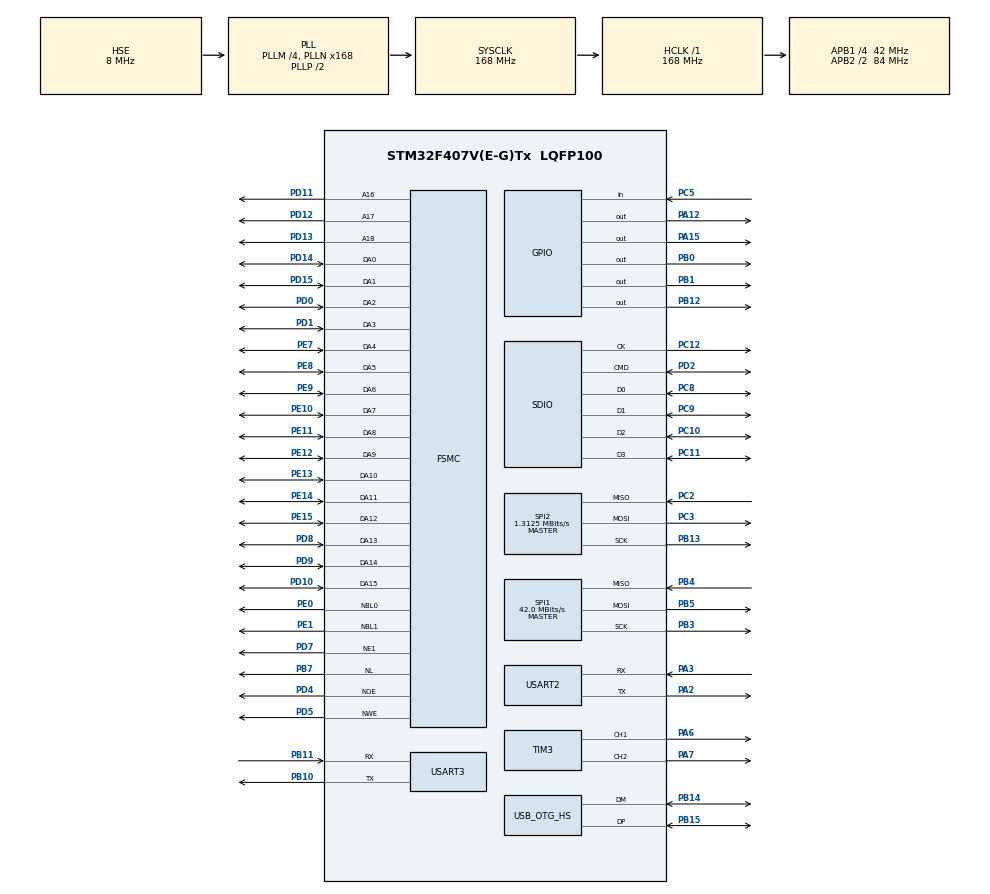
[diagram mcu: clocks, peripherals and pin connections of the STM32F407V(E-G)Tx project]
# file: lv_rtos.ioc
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Dma.Request0=SDIO_TX
Dma.Request1=SDIO_RX
Dma.Request2=SPI1_RX
Dma.Request3=SPI1_TX
Dma.SDIO_RX.1.Direction=DMA_PERIPH_TO_MEMORY
Dma.SDIO_RX.1.FIFOMode=DMA_FIFOMODE_ENABLE
Dma.SDIO_RX.1.FIFOThreshold=DMA_FIFO_THRESHOLD_FULL
Dma.SDIO_RX.1.Instance=DMA2_Stream6
Dma.SDIO_RX.1.MemBurst=DMA_MBURST_INC4
Dma.SDIO_RX.1.MemDataAlignment=DMA_MDATAALIGN_WORD
Dma.SDIO_RX.1.MemInc=DMA_MINC_ENABLE
Dma.SDIO_RX.1.Mode=DMA_PFCTRL
Dma.SDIO_RX.1.PeriphBurst=DMA_PBURST_INC4
Dma.SDIO_RX.1.PeriphDataAlignment=DMA_PDATAALIGN_WORD
Dma.SDIO_RX.1.PeriphInc=DMA_PINC_DISABLE
Dma.SDIO_RX.1.Priority=DMA_PRIORITY_MEDIUM
Dma.SDIO_TX.0.Direction=DMA_MEMORY_TO_PERIPH
Dma.SDIO_TX.0.FIFOMode=DMA_FIFOMODE_ENABLE
Dma.SDIO_TX.0.FIFOThreshold=DMA_FIFO_THRESHOLD_FULL
Dma.SDIO_TX.0.Instance=DMA2_Stream3
Dma.SDIO_TX.0.MemBurst=DMA_MBURST_INC4
Dma.SDIO_TX.0.MemDataAlignment=DMA_MDATAALIGN_WORD
Dma.SDIO_TX.0.MemInc=DMA_MINC_ENABLE
Dma.SDIO_TX.0.Mode=DMA_PFCTRL
Dma.SDIO_TX.0.PeriphBurst=DMA_PBURST_INC4
Dma.SDIO_TX.0.PeriphDataAlignment=DMA_PDATAALIGN_WORD
Dma.SDIO_TX.0.PeriphInc=DMA_PINC_DISABLE
Dma.SDIO_TX.0.Priority=DMA_PRIORITY_MEDIUM
Dma.SPI1_RX.2.Direction=DMA_PERIPH_TO_MEMORY
Dma.SPI1_RX.2.FIFOMode=DMA_FIFOMODE_DISABLE
Dma.SPI1_RX.2.Instance=DMA2_Stream0
Dma.SPI1_RX.2.MemDataAlignment=DMA_MDATAALIGN_BYTE
Dma.SPI1_RX.2.MemInc=DMA_MINC_ENABLE
Dma.SPI1_RX.2.Mode=DMA_NORMAL
Dma.SPI1_RX.2.PeriphDataAlignment=DMA_PDATAALIGN_BYTE
Dma.SPI1_RX.2.PeriphInc=DMA_PINC_DISABLE
Dma.SPI1_RX.2.Priority=DMA_PRIORITY_LOW
Dma.SPI1_TX.3.Direction=DMA_MEMORY_TO_PERIPH
Dma.SPI1_TX.3.FIFOMode=DMA_FIFOMODE_ENABLE
Dma.SPI1_TX.3.FIFOThreshold=DMA_FIFO_THRESHOLD_FULL
Dma.SPI1_TX.3.Instance=DMA2_Stream5
Dma.SPI1_TX.3.MemBurst=DMA_MBURST_SINGLE
Dma.SPI1_TX.3.MemDataAlignment=DMA_MDATAALIGN_BYTE
Dma.SPI1_TX.3.MemInc=DMA_MINC_ENABLE
Dma.SPI1_TX.3.Mode=DMA_NORMAL
Dma.SPI1_TX.3.PeriphBurst=DMA_PBURST_SINGLE
Dma.SPI1_TX.3.PeriphDataAlignment=DMA_PDATAALIGN_BYTE
Dma.SPI1_TX.3.PeriphInc=DMA_PINC_DISABLE
Dma.SPI1_TX.3.Priority=DMA_PRIORITY_LOW
FATFS._CODE_PAGE=936
FATFS._FS_TIMEOUT=1000
FATFS._LFN_UNICODE=0
FATFS._USE_LFN=2
FREERTOS.Tasks01=defaultTask,24,1024,StartDefaultTask,Default,NULL,Dynamic,NULL,NULL
FREERTOS.configCHECK_FOR_STACK_OVERFLOW=1
FREERTOS.configMINIMAL_STACK_SIZE=128
FREERTOS.configTOTAL_HEAP_SIZE=64*1024
FREERTOS.configUSE_MALLOC_FAILED_HOOK=1
FREERTOS.configUSE_TICK_HOOK=1
FSMC.AddressHoldTime1=2
FSMC.AddressSetupTime1=5
FSMC.BusTurnAroundDuration1=0
FSMC.DataSetupTime1=7
FSMC.WriteOperation1=FSMC_WRITE_OPERATION_ENABLE
Mcu.Family=STM32F4
Mcu.Name=STM32F407V(E-G)Tx
Mcu.Package=LQFP100
NVIC.DMA2_Stream0_IRQn=true\:5\:0\:false\:false\:true\:true\:false\:true\:true
NVIC.DMA2_Stream3_IRQn=true\:6\:0\:true\:false\:true\:true\:false\:true\:true
NVIC.DMA2_Stream5_IRQn=true\:5\:0\:false\:false\:true\:true\:false\:true\:true
NVIC.DMA2_Stream6_IRQn=true\:6\:0\:true\:false\:true\:true\:false\:true\:true
NVIC.PriorityGroup=NVIC_PRIORITYGROUP_4
NVIC.SDIO_IRQn=true\:5\:0\:true\:false\:true\:true\:true\:true\:true
NVIC.SPI1_IRQn=true\:5\:0\:false\:false\:true\:true\:true\:true\:true
NVIC.TIM7_IRQn=true\:1\:0\:true\:false\:true\:false\:false\:true\:true
NVIC.TimeBase=TIM7_IRQn
NVIC.TimeBaseIP=TIM7
NVIC.USART2_IRQn=true\:5\:0\:false\:false\:true\:true\:true\:true\:true
NVIC.USART3_IRQn=true\:5\:0\:false\:false\:true\:true\:true\:true\:true
PA12.GPIO_Speed=GPIO_SPEED_FREQ_VERY_HIGH
PA12.PinState=GPIO_PIN_SET
PA12.Signal=GPIO_Output
PA13.Mode=Serial_Wire
PA13.Signal=SYS_JTMS-SWDIO
PA14.Mode=Serial_Wire
PA14.Signal=SYS_JTCK-SWCLK
PA15.GPIO_Speed=GPIO_SPEED_FREQ_VERY_HIGH
PA15.PinState=GPIO_PIN_SET
PA15.Signal=GPIO_Output
PA2.Mode=Asynchronous
PA2.Signal=USART2_TX
PA3.Mode=Asynchronous
PA3.Signal=USART2_RX
PA6.Signal=S_TIM3_CH1
PA7.Signal=S_TIM3_CH2
PB0.GPIO_Speed=GPIO_SPEED_FREQ_VERY_HIGH
PB0.Signal=GPIO_Output
PB1.GPIO_Speed=GPIO_SPEED_FREQ_VERY_HIGH
PB1.Signal=GPIO_Output
PB10.Mode=Asynchronous
PB10.Signal=USART3_TX
PB11.Mode=Asynchronous
PB11.Signal=USART3_RX
PB12.GPIO_Speed=GPIO_SPEED_FREQ_VERY_HIGH
PB12.PinState=GPIO_PIN_SET
PB12.Signal=GPIO_Output
PB13.Mode=Full_Duplex_Master
PB13.Signal=SPI2_SCK
PB14.Mode=Device_Only_FS
PB14.Signal=USB_OTG_HS_DM
PB15.Mode=Device_Only_FS
PB15.Signal=USB_OTG_HS_DP
PB3.Mode=Full_Duplex_Master
PB3.Signal=SPI1_SCK
PB4.Mode=Full_Duplex_Master
PB4.Signal=SPI1_MISO
PB5.Mode=Full_Duplex_Master
PB5.Signal=SPI1_MOSI
PB7.GPIO_Speed_High_Default=GPIO_SPEED_FREQ_VERY_HIGH
PB7.Signal=FSMC_NL
PC10.Mode=SD_4_bits_Wide_bus
PC10.Signal=SDIO_D2
PC11.Mode=SD_4_bits_Wide_bus
PC11.Signal=SDIO_D3
PC12.Mode=SD_4_bits_Wide_bus
PC12.Signal=SDIO_CK
PC2.Mode=Full_Duplex_Master
PC2.Signal=SPI2_MISO
PC3.Mode=Full_Duplex_Master
PC3.Signal=SPI2_MOSI
PC5.Signal=GPIO_Input
PC8.Mode=SD_4_bits_Wide_bus
PC8.Signal=SDIO_D0
PC9.Mode=SD_4_bits_Wide_bus
PC9.Signal=SDIO_D1
PD0.GPIO_Speed_High_Default=GPIO_SPEED_FREQ_VERY_HIGH
PD0.Mode=19b-da1
PD0.Signal=FSMC_DA2
PD1.GPIO_Speed_High_Default=GPIO_SPEED_FREQ_VERY_HIGH
PD1.Mode=19b-da1
PD1.Signal=FSMC_DA3
PD10.GPIO_Speed_High_Default=GPIO_SPEED_FREQ_VERY_HIGH
PD10.Mode=19b-da1
PD10.Signal=FSMC_DA15
PD11.GPIO_Speed_High_Default=GPIO_SPEED_FREQ_VERY_HIGH
PD11.Mode=19b-da1
PD11.Signal=FSMC_A16
PD12.GPIO_Speed_High_Default=GPIO_SPEED_FREQ_VERY_HIGH
PD12.Mode=19b-da1
PD12.Signal=FSMC_A17
PD13.GPIO_Speed_High_Default=GPIO_SPEED_FREQ_VERY_HIGH
PD13.Mode=19b-da1
PD13.Signal=FSMC_A18
PD14.GPIO_Speed_High_Default=GPIO_SPEED_FREQ_VERY_HIGH
PD14.Mode=19b-da1
PD14.Signal=FSMC_DA0
PD15.GPIO_Speed_High_Default=GPIO_SPEED_FREQ_VERY_HIGH
PD15.Mode=19b-da1
PD15.Signal=FSMC_DA1
PD2.Mode=SD_4_bits_Wide_bus
PD2.Signal=SDIO_CMD
PD4.GPIO_PuPd=GPIO_NOPULL
PD4.GPIO_Speed_High_Default=GPIO_SPEED_FREQ_VERY_HIGH
PD4.Mode=MuxedPsram1
PD4.Signal=FSMC_NOE
PD5.GPIO_Speed_High_Default=GPIO_SPEED_FREQ_VERY_HIGH
PD5.Mode=MuxedPsram1
PD5.Signal=FSMC_NWE
PD7.GPIO_Speed_High_Default=GPIO_SPEED_FREQ_VERY_HIGH
PD7.Mode=NorPsramChipSelect1_1
PD7.Signal=FSMC_NE1
PD8.GPIO_Speed_High_Default=GPIO_SPEED_FREQ_VERY_HIGH
PD8.Mode=19b-da1
PD8.Signal=FSMC_DA13
PD9.GPIO_Speed_High_Default=GPIO_SPEED_FREQ_VERY_HIGH
PD9.Mode=19b-da1
PD9.Signal=FSMC_DA14
PE0.GPIO_Speed_High_Default=GPIO_SPEED_FREQ_VERY_HIGH
PE0.Mode=2ByteEnable1
PE0.Signal=FSMC_NBL0
PE1.GPIO_Speed_High_Default=GPIO_SPEED_FREQ_VERY_HIGH
PE1.Mode=2ByteEnable1
PE1.Signal=FSMC_NBL1
PE10.GPIO_Speed_High_Default=GPIO_SPEED_FREQ_VERY_HIGH
PE10.Mode=19b-da1
PE10.Signal=FSMC_DA7
PE11.GPIO_Speed_High_Default=GPIO_SPEED_FREQ_VERY_HIGH
PE11.Mode=19b-da1
PE11.Signal=FSMC_DA8
PE12.GPIO_Speed_High_Default=GPIO_SPEED_FREQ_VERY_HIGH
PE12.Mode=19b-da1
PE12.Signal=FSMC_DA9
PE13.GPIO_Speed_High_Default=GPIO_SPEED_FREQ_VERY_HIGH
PE13.Mode=19b-da1
PE13.Signal=FSMC_DA10
PE14.GPIO_Speed_High_Default=GPIO_SPEED_FREQ_VERY_HIGH
PE14.Mode=19b-da1
PE14.Signal=FSMC_DA11
PE15.GPIO_Speed_High_Default=GPIO_SPEED_FREQ_VERY_HIGH
PE15.Mode=19b-da1
PE15.Signal=FSMC_DA12
PE7.GPIO_Speed_High_Default=GPIO_SPEED_FREQ_VERY_HIGH
PE7.Mode=19b-da1
PE7.Signal=FSMC_DA4
PE8.GPIO_Speed_High_Default=GPIO_SPEED_FREQ_VERY_HIGH
PE8.Mode=19b-da1
PE8.Signal=FSMC_DA5
PE9.GPIO_Speed_High_Default=GPIO_SPEED_FREQ_VERY_HIGH
PE9.Mode=19b-da1
PE9.Signal=FSMC_DA6
PH0-OSC_IN.Mode=HSE-External-Oscillator
PH0-OSC_IN.Signal=RCC_OSC_IN
PH1-OSC_OUT.Mode=HSE-External-Oscillator
PH1-OSC_OUT.Signal=RCC_OSC_OUT
ProjectManager.HeapSize=0x200
ProjectManager.StackSize=0x400
ProjectManager.TargetToolchain=CMake
RCC.48MHZClocksFreq_Value=48000000
RCC.AHBFreq_Value=168000000
RCC.APB1CLKDivider=RCC_HCLK_DIV4
RCC.APB1Freq_Value=42000000
RCC.APB1TimFreq_Value=84000000
RCC.APB2CLKDivider=RCC_HCLK_DIV2
RCC.APB2Freq_Value=84000000
RCC.APB2TimFreq_Value=168000000
RCC.CortexFreq_Value=168000000
RCC.HCLKFreq_Value=168000000
RCC.HSE_VALUE=8000000
RCC.HSI_VALUE=16000000
RCC.LSE_VALUE=32768
RCC.PLLM=4
RCC.PLLN=168
RCC.PLLQ=7
RCC.SYSCLKFreq_VALUE=168000000
RCC.SYSCLKSource=RCC_SYSCLKSOURCE_PLLCLK
RCC.VCOOutputFreq_Value=336000000
SDIO.ClockBypass=SDIO_CLOCK_BYPASS_DISABLE
SDIO.ClockDiv=0
SDIO.HardwareFlowControl=SDIO_HARDWARE_FLOW_CONTROL_DISABLE
SH.FSMC_NL.0=FSMC_NL,AddressValid1
SH.S_TIM3_CH1.0=TIM3_CH1,PWM Generation1 CH1
SH.S_TIM3_CH2.0=TIM3_CH2,PWM Generation2 CH2
SPI1.BaudRatePrescaler=SPI_BAUDRATEPRESCALER_2
SPI1.CalculateBaudRate=42.0 MBits/s
SPI1.DataSize=SPI_DATASIZE_8BIT
SPI1.Direction=SPI_DIRECTION_2LINES
SPI1.Mode=SPI_MODE_MASTER
SPI1.VirtualType=VM_MASTER
SPI2.BaudRatePrescaler=SPI_BAUDRATEPRESCALER_32
SPI2.CalculateBaudRate=1.3125 MBits/s
SPI2.Direction=SPI_DIRECTION_2LINES
SPI2.Mode=SPI_MODE_MASTER
SPI2.VirtualType=VM_MASTER
TIM3.Channel-PWM\ Generation1\ CH1=TIM_CHANNEL_1
TIM3.Channel-PWM\ Generation2\ CH2=TIM_CHANNEL_2
USART2.VirtualMode=VM_ASYNC
USART3.VirtualMode=VM_ASYNC
USB_OTG_HS.VirtualMode-Device_Only_FS=Device_Only_FS
USB_OTG_HS.dma_enable-Device_Only_FS=ENABLE
VP_FATFS_VS_Generic.Mode=User_defined
VP_FATFS_VS_SDIO.Mode=SDIO
VP_FREERTOS_VS_CMSIS_V2.Mode=CMSIS_V2
VP_SYS_VS_tim7.Mode=TIM7
VP_TIM3_VS_ClockSourceINT.Mode=Internal
board=custom

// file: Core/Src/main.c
/* USER CODE BEGIN Header */
/**
 ******************************************************************************
 * @file           : main.c
 * @brief          : Main program body
 ******************************************************************************
 * @attention
 *
 * Copyright (c) 2026 STMicroelectronics.
 * All rights reserved.
 *
 * This software is licensed under terms that can be found in the LICENSE file
 * in the root directory of this software component.
 * If no LICENSE file comes with this software, it is provided AS-IS.
 *
 ******************************************************************************
 */
/* USER CODE END Header */
#include "main.h"
#include "cmsis_os.h"
#include "dma.h"
#include "fatfs.h"
#include "sdio.h"
#include "spi.h"
#include "tim.h"
#include "usart.h"
#include "gpio.h"
#include "fsmc.h"

void SystemClock_Config(void);
void MX_FREERTOS_Init(void);

int main(void)
{

  /* MCU Configuration--------------------------------------------------------*/

  /* Reset of all peripherals, Initializes the Flash interface and the Systick. */
  HAL_Init();

  /* Configure the system clock */
  SystemClock_Config();

  /* USER CODE BEGIN SysInit */
  // ????????????????????????SD????esp8266????????
  for (volatile uint32_t i = 0; i < 100000000; i++)
  {
    __NOP();
  }
  /* USER CODE END SysInit */

  /* Initialize all configured peripherals */
  MX_GPIO_Init();
  MX_DMA_Init();
  MX_SPI1_Init();
  MX_SPI2_Init();
  MX_USART2_UART_Init();
  MX_USART3_UART_Init();
  MX_FSMC_Init();
  MX_TIM3_Init();
  MX_SDIO_SD_Init();
  MX_FATFS_Init();

  /* Init scheduler */
  osKernelInitialize();

  /* Call init function for freertos objects (in cmsis_os2.c) */
  MX_FREERTOS_Init();

  /* Start scheduler */
  osKernelStart();

  /* We should never get here as control is now taken by the scheduler */

  /* Infinite loop */
  while (1)
  {

  }
}

void SystemClock_Config(void)
{
  RCC_OscInitTypeDef RCC_OscInitStruct = {0};
  RCC_ClkInitTypeDef RCC_ClkInitStruct = {0};

  /** Configure the main internal regulator output voltage
   */
  __HAL_RCC_PWR_CLK_ENABLE();
  __HAL_PWR_VOLTAGESCALING_CONFIG(PWR_REGULATOR_VOLTAGE_SCALE1);

  /** Initializes the RCC Oscillators according to the specified parameters
   * in the RCC_OscInitTypeDef structure.
   */
  RCC_OscInitStruct.OscillatorType = RCC_OSCILLATORTYPE_HSE;
  RCC_OscInitStruct.HSEState = RCC_HSE_ON;
  RCC_OscInitStruct.PLL.PLLState = RCC_PLL_ON;
  RCC_OscInitStruct.PLL.PLLSource = RCC_PLLSOURCE_HSE;
  RCC_OscInitStruct.PLL.PLLM = 4;
  RCC_OscInitStruct.PLL.PLLN = 168;
  RCC_OscInitStruct.PLL.PLLP = RCC_PLLP_DIV2;
  RCC_OscInitStruct.PLL.PLLQ = 7;
  if (HAL_RCC_OscConfig(&RCC_OscInitStruct) != HAL_OK)
  {
    Error_Handler();
  }

  /** Initializes the CPU, AHB and APB buses clocks
   */
  RCC_ClkInitStruct.ClockType = RCC_CLOCKTYPE_HCLK | RCC_CLOCKTYPE_SYSCLK | RCC_CLOCKTYPE_PCLK1 | RCC_CLOCKTYPE_PCLK2;
  RCC_ClkInitStruct.SYSCLKSource = RCC_SYSCLKSOURCE_PLLCLK;
  RCC_ClkInitStruct.AHBCLKDivider = RCC_SYSCLK_DIV1;
  RCC_ClkInitStruct.APB1CLKDivider = RCC_HCLK_DIV4;
  RCC_ClkInitStruct.APB2CLKDivider = RCC_HCLK_DIV2;

  if (HAL_RCC_ClockConfig(&RCC_ClkInitStruct, FLASH_LATENCY_5) != HAL_OK)
  {
    Error_Handler();
  }
}

void HAL_TIM_PeriodElapsedCallback(TIM_HandleTypeDef *htim)
{
  if (htim->Instance == TIM7)
  {
    HAL_IncTick();
  }
}

void Error_Handler(void)
{
  __disable_irq();
  while (1)
  {
  }
}

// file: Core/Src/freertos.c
/* USER CODE BEGIN Header */
/**
 ******************************************************************************
 * File Name          : freertos.c
 * Description        : Code for freertos applications
 ******************************************************************************
 * @attention
 *
 * Copyright (c) 2026 STMicroelectronics.
 * All rights reserved.
 *
 * This software is licensed under terms that can be found in the LICENSE file
 * in the root directory of this software component.
 * If no LICENSE file comes with this software, it is provided AS-IS.
 *
 ******************************************************************************
 */
/* USER CODE END Header */

#include "FreeRTOS.h"
#include "task.h"
#include "main.h"
#include "cmsis_os.h"

/* USER CODE BEGIN Includes */
#include "lvgl.h"
#include "touch.h"
#include "debug.h"
#include "heap.h"
extern int fps, fps_time;
/* USER CODE END Includes */

/* Definitions for defaultTask */
osThreadId_t defaultTaskHandle;
const osThreadAttr_t defaultTask_attributes = {
    .name = "defaultTask",
    .stack_size = 1024 * 4,
    .priority = (osPriority_t)osPriorityNormal,
};

void StartDefaultTask(void *argument);

void MX_FREERTOS_Init(void); /* (MISRA C 2004 rule 8.1) */

/* Hook prototypes */
void vApplicationTickHook(void);
void vApplicationStackOverflowHook(xTaskHandle xTask, signed char *pcTaskName);
void vApplicationMallocFailedHook(void);

/* USER CODE BEGIN 3 */
void vApplicationTickHook(void)
{
  /* This function will be called by each tick interrupt if
  configUSE_TICK_HOOK is set to 1 in FreeRTOSConfig.h. User code can be
  added here, but the tick hook is called from an interrupt context, so
  code must not attempt to block, and only the interrupt safe FreeRTOS API
  functions can be used (those that end in FromISR()). */
  lv_tick_inc(1);
  touch.api->scan(touch.ctrl);
  fps_time++;
}
/* USER CODE END 3 */

/* USER CODE BEGIN 4 */
void vApplicationStackOverflowHook(xTaskHandle xTask, signed char *pcTaskName)
{
  /* Run time stack overflow checking is performed if
  configCHECK_FOR_STACK_OVERFLOW is defined to 1 or 2. This hook function is
  called if a stack overflow is detected. */
  printf("Stack overflow: %s\n", pcTaskName);
  while (1)
    ;
}
/* USER CODE END 4 */

/* USER CODE BEGIN 5 */
void vApplicationMallocFailedHook(void)
{
  /* vApplicationMallocFailedHook() will only be called if
  configUSE_MALLOC_FAILED_HOOK is set to 1 in FreeRTOSConfig.h. It is a hook
  function that will get called if a call to pvPortMalloc() fails.
  pvPortMalloc() is called internally by the kernel whenever a task, queue,
  timer or semaphore is created. It is also called by various parts of the
  demo application. If heap_1.c or heap_2.c are used, then the size of the
  heap available to pvPortMalloc() is defined by configTOTAL_HEAP_SIZE in
  FreeRTOSConfig.h, and the xPortGetFreeHeapSize() API function can be used
  to query the size of free heap space that remains (although it does not
  provide information on how the remaining heap might be fragmented). */
  printf("Malloc failed\n");
  while (1)
    ;
}
/* USER CODE END 5 */

void MX_FREERTOS_Init(void)
{

  /* Create the thread(s) */
  /* creation of defaultTask */
  defaultTaskHandle = osThreadNew(StartDefaultTask, NULL, &defaultTask_attributes);

}

/* USER CODE BEGIN Header_StartDefaultTask */
/**
 * @brief  Function implementing the defaultTask thread.
 * @param  argument: Not used
 * @retval None
 */
#if 0
/* USER CODE END Header_StartDefaultTask */
void StartDefaultTask(void *argument)
{
  /* USER CODE BEGIN StartDefaultTask */
#else
void StartDefaultTask(void *argument)
{
  UNUSED(argument);

  extern void mytask_init();
  mytask_init();

  lv_mem_monitor_t mon;
  size_t free_heap_size;
  /* Infinite loop */
  for (;;)
  {
    free_heap_size = xPortGetFreeHeapSize();
    printf("\n========= FreeRTOS Heap Memory Status ==========\n");
    printf("free heap size: %d bytes\n", free_heap_size);

    lv_mem_monitor(&mon);
    printf("============LVGL Heap Memory Status=============\n");
    printf("Total:     %d bytes\n", mon.total_size);
    printf("Used:      %d bytes (%d%%)\n",
           mon.total_size - mon.free_size, mon.used_pct);
    printf("Free:      %d bytes\n", mon.free_size);
    printf("Max used:  %d bytes\n", mon.max_used);
    printf("Fragment:  %d%%\n", mon.frag_pct);
    printf("Biggest free: %d bytes\n", mon.free_biggest_size);
    printf("=================================================\n\n");
    // printf("my heap size: %d bytes\n", heap.api->get_free_size(heap.ctrl));

    if (fps_time >= 1000)
    {
      printf("fps: %d\n", fps);
      fps = 0;
      fps_time = 0;
    }
    osDelay(5000);
  }
#endif
  /* USER CODE END StartDefaultTask */
}
